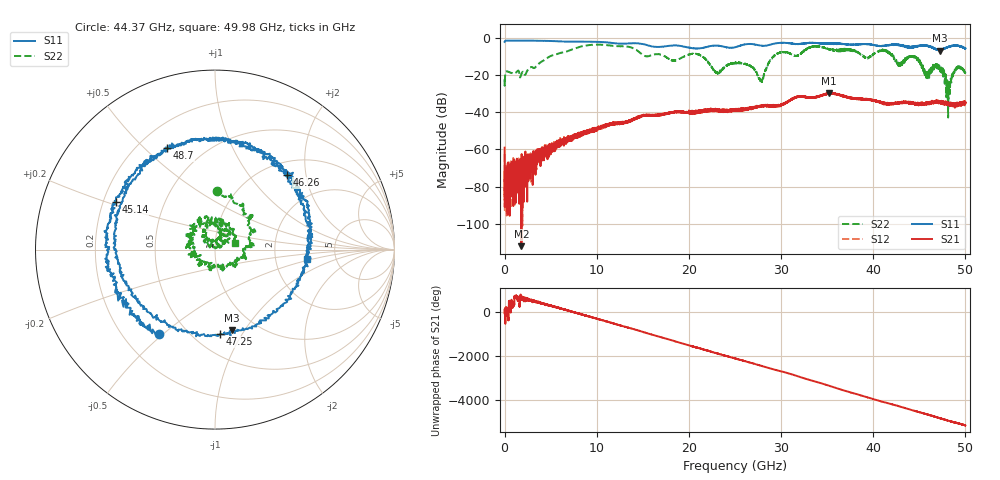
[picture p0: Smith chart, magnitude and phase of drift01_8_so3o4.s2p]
!Created with skrf (http://scikit-rf.org).
# Hz S RI R 50.0
!freq ReS11 ImS11 ReS21 ImS21 ReS12 ImS12 ReS22 ImS22
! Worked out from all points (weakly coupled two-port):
!   10001 points, 300 kHz to 50 GHz, reference 50 ohm
!   highest |S21| = -29.54 dB at 35.23 GHz (marker M1); lowest = -112.0 dB at 1.825 GHz (marker M2)
!   lowest |S11| = -6.8 dB at 47.2 GHz (marker M3), VSWR 2.69, Z = 38.6 - j43.9 ohm
!   |S11| at or under -10 dB: nowhere
!   |S22| runs from -42.8 to -3.6 dB; largest |S21 - S12| = 0.0037
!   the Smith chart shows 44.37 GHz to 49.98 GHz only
!   S11 on the Smith chart (normalised r, x): 44.37 GHz: 0.35, -0.49; 45.14 GHz: 0.25, +0.21; 46.26 GHz: 1.25, +1.57; 47.25 GHz: 0.67, -0.81; 48.7 GHz: 0.32, +0.59; 49.98 GHz: 3.06, -0.44
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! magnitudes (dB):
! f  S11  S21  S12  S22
! 300 kHz  -2.1  -59.0  -62.7  -22.3
! 260.3 MHz  -1.4  -73.1  -75.1  -18.0
! 1.825 GHz  -1.4  -112.0  -68.3  -19.3
! 8.335 GHz  -1.9  -51.4  -51.2  -4.5
! 16.67 GHz  -4.9  -41.4  -41.6  -8.7
! 20.97 GHz  -5.7  -39.6  -39.5  -8.8
! 23.07 GHz  -4.1  -38.5  -39.0  -18.5
! 25 GHz  -5.0  -38.7  -38.6  -13.6
! 27.83 GHz  -4.2  -36.7  -37.0  -22.5
! 29.48 GHz  -2.9  -36.7  -36.3  -8.8
! 33.34 GHz  -2.6  -32.0  -32.0  -4.7
! 35.23 GHz  -2.7  -29.5  -30.0  -5.9
! 41.67 GHz  -3.9  -34.9  -35.4  -7.4
! 44.37 GHz  -5.0  -35.4  -35.3  -9.8
! 45.14 GHz  -4.2  -35.4  -35.8  -14.0
! 46.26 GHz  -4.8  -35.2  -34.5  -17.4
! 47.2 GHz  -6.8  -34.2  -34.4  -15.6
! 47.25 GHz  -6.5  -34.7  -34.7  -18.0
! 48.13 GHz  -4.9  -36.1  -35.7  -37.5
! 48.7 GHz  -4.1  -36.8  -35.7  -18.8
! 49.98 GHz  -5.8  -34.6  -34.4  -18.5
! 50 GHz  -5.7  -34.6  -34.8  -18.6
